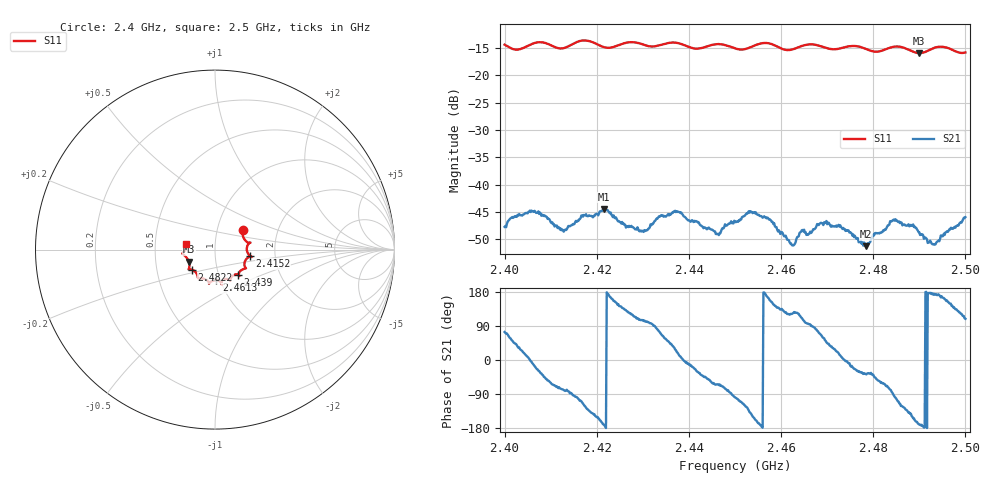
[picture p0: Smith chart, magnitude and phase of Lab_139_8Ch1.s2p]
# Hz S RI R 50
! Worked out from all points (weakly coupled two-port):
!   601 points, 2.4 GHz to 2.5 GHz, reference 50 ohm
!   highest |S21| = -44.49 dB at 2.4215 GHz (marker M1); lowest = -51.3 dB at 2.4783 GHz (marker M2)
!   lowest |S11| = -15.9 dB at 2.4898 GHz (marker M3), VSWR 1.38, Z = 37 - j5.05 ohm
!   |S11| at or under -10 dB: start of sweep to end of sweep
!   S12 and S22 are empty: the file has one direction only
!   S11 on the Smith chart (normalised r, x): 2.4 GHz: 1.33, +0.31; 2.4152 GHz: 1.48, -0.11; 2.439 GHz: 1.24, -0.36; 2.4613 GHz: 0.96, -0.34; 2.4822 GHz: 0.76, -0.17; 2.5 GHz: 0.72, +0.05
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2.4e9  0.1559 0.111  0.00114 0.00393  0 0  0 0
2.406e9  0.1915 0.0369  0.00565 -0.000829  0 0  0 0
2.4125e9  0.177 -0.00139  0.000842 -0.00378  0 0  0 0
2.415167e9  0.1945 -0.0354  -0.000364 -0.00434  0 0  0 0
2.416667e9  0.2043 -0.0415  -0.00172 -0.00491  0 0  0 0
2.4215e9  0.1742 -0.0528  -0.00588 -0.00102  0 0  0 0
2.429667e9  0.1629 -0.1071  -0.000999 0.00357  0 0  0 0
2.433333e9  0.1331 -0.1326  0.000993 0.00488  0 0  0 0
2.439e9  0.1285 -0.1394  0.00507 -0.000259  0 0  0 0
2.446333e9  0.0851 -0.1742  0.00149 -0.00317  0 0  0 0
2.45e9  0.0683 -0.1637  -0.000665 -0.00454  0 0  0 0
2.454e9  0.0348 -0.1831  -0.00484 -0.00267  0 0  0 0
2.461333e9  0.0078 -0.1706  -0.00162 0.00266  0 0  0 0
2.462667e9  -0.0117 -0.1738  -0.00156 0.00228  0 0  0 0
2.466667e9  -0.0332 -0.19  -4.79e-06 0.00366  0 0  0 0
2.469833e9  -0.0414 -0.1734  0.00316 0.00339  0 0  0 0
2.478333e9  -0.0979 -0.1457  0.00218 -0.00162  0 0  0 0
2.482167e9  -0.128 -0.1122  0.00183 -0.00333  0 0  0 0
2.483333e9  -0.1394 -0.1107  0.00121 -0.00406  0 0  0 0
2.489833e9  -0.1459 -0.0665  -0.00359 -0.000727  0 0  0 0
2.493167e9  -0.1766 -0.0271  -0.0028 0.000255  0 0  0 0
2.5e9  -0.1588 0.0335  -0.00161 0.00475  0 0  0 0
